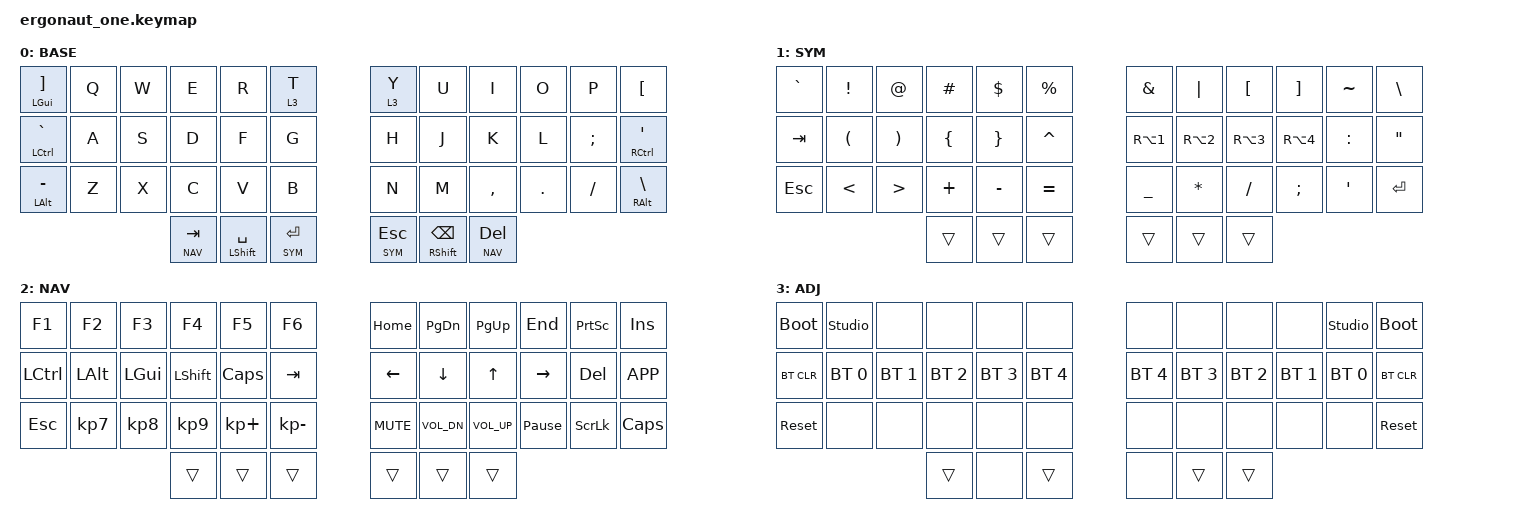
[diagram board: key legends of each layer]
/*
 * Ergonaut One — upgraded programmer layout
 * Inspired by thrly-corne-zmk
 *
 * Goals:
 * - Keep your current muscle memory
 * - Improve programming ergonomics
 * - Better symbols placement
 * - Cleaner navigation workflow
 * - Preserve tri-layer setup
 * - Safe migration path
 */

#include <behaviors.dtsi>
#include <dt-bindings/zmk/bt.h>
#include <dt-bindings/zmk/keys.h>

#define DEF 0
#define SYM 1
#define NAV 2
#define ADJ 3

&lt { quick-tap-ms = <200>; };

&mt { quick-tap-ms = <200>; };

/ {
    conditional_layers {
        compatible = "zmk,conditional-layers";

        tri_layer {
            if-layers = <SYM NAV>;
            then-layer = <ADJ>;
        };
    };

    keymap {
        compatible = "zmk,keymap";

        /* =========================================================
         * DEFAULT
         * ========================================================= */

        default_layer {
            display-name = "BASE";
            bindings = <
&mt LGUI RBKT    &kp Q  &kp W  &kp E        &kp R            &lt 3 T      &lt 3 Y      &kp U           &kp I        &kp O    &kp P     &kp LBKT
&mt LCTRL GRAVE  &kp A  &kp S  &kp D        &kp F            &kp G        &kp H        &kp J           &kp K        &kp L    &kp SEMI  &mt RCTRL SQT
&mt LALT MINUS   &kp Z  &kp X  &kp C        &kp V            &kp B        &kp N        &kp M           &kp COMMA    &kp DOT  &kp FSLH  &mt RALT BSLH
                               &lt NAV TAB  &mt LSHFT SPACE  &lt SYM RET  &lt SYM ESC  &mt RSHFT BSPC  &lt NAV DEL
            >;
        };

        /* =========================================================
         * SYMBOLS / PROGRAMMING
         * ========================================================= */

        sym_layer {
            display-name = "SYM";
            bindings = <
&kp GRAVE  &kp EXCL  &kp AT    &kp HASH  &kp DLLR   &kp PRCNT  &kp AMPS    &kp PIPE    &kp LBKT    &kp RBKT          &kp TILDE  &kp BSLH
&kp TAB    &kp LPAR  &kp RPAR  &kp LBRC  &kp RBRC   &kp CARET  &kp RA(N1)  &kp RA(N2)  &kp RA(N3)  &kp RA(NUMBER_4)  &kp COLON  &kp DQT
&kp ESC    &kp LT    &kp GT    &kp PLUS  &kp MINUS  &kp EQUAL  &kp UNDER   &kp STAR    &kp FSLH    &kp SEMI          &kp SQT    &kp RET
                               &trans    &trans     &trans     &trans      &trans      &trans
            >;
        };

        /* =========================================================
         * NAVIGATION / NUMPAD
         * ========================================================= */

        nav_layer {
            display-name = "NAV";
            bindings = <
&kp F1     &kp F2     &kp F3     &kp F4     &kp F5       &kp F6        &kp HOME    &kp PG_DN     &kp PG_UP     &kp END          &kp PSCRN  &kp INS
&kp LCTRL  &kp LALT   &kp LGUI   &kp LSHFT  &kp CAPS     &kp TAB       &kp LEFT    &kp DOWN      &kp UP        &kp RIGHT        &kp DEL    &kp K_APP
&kp ESC    &kp KP_N7  &kp KP_N8  &kp KP_N9  &kp KP_PLUS  &kp KP_MINUS  &kp C_MUTE  &kp C_VOL_DN  &kp C_VOL_UP  &kp PAUSE_BREAK  &kp SLCK   &kp CLCK
                                 &trans     &trans       &trans        &trans      &trans        &trans
            >;
        };

        /* =========================================================
         * ADJUST / SYSTEM
         * ========================================================= */

        adjust_layer {
            display-name = "ADJ";
            bindings = <
&bootloader  &studio_unlock  &none         &none         &none         &none         &none         &none         &none         &none         &studio_unlock  &bootloader
&bt BT_CLR   &bt BT_SEL 0    &bt BT_SEL 1  &bt BT_SEL 2  &bt BT_SEL 3  &bt BT_SEL 4  &bt BT_SEL 4  &bt BT_SEL 3  &bt BT_SEL 2  &bt BT_SEL 1  &bt BT_SEL 0    &bt BT_CLR
&sys_reset   &none           &none         &none         &none         &none         &none         &none         &none         &none         &none           &sys_reset
                                           &trans        &none         &trans        &none         &trans        &trans
            >;
        };
    };

    /* =========================================================
     * COMBOS
     * ========================================================= */

    combos {
        compatible = "zmk,combos";

        combo_caps_word {
            timeout-ms = <40>;
            key-positions = <14 15>;
            bindings = <&caps_word>;
        };

        combo_escape {
            timeout-ms = <30>;
            key-positions = <1 2>;
            bindings = <&kp ESC>;
        };

        combo_tab {
            timeout-ms = <30>;
            key-positions = <8 9>;
            bindings = <&kp TAB>;
        };
    };
};
